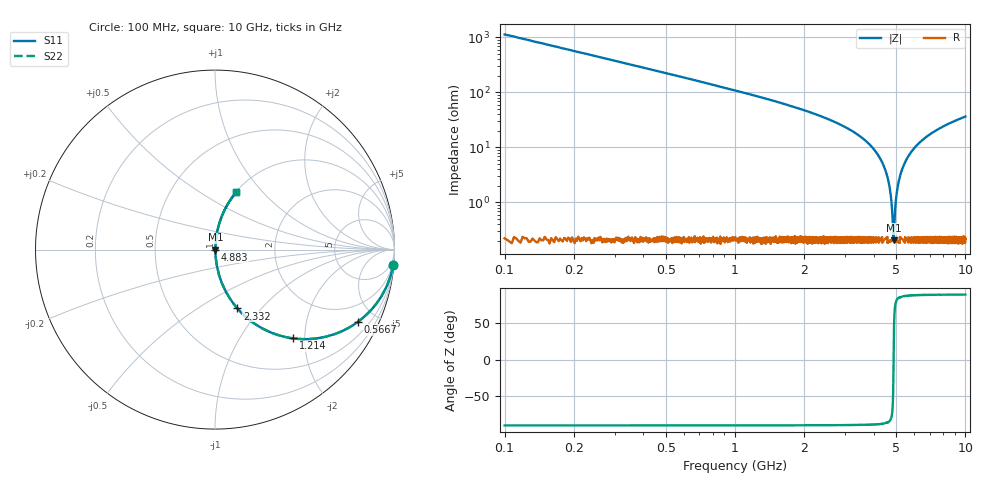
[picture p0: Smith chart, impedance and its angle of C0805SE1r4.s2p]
! AVX Thin Film Operation		Date: April 2012
! Description: Accu-P® Series, Thin Film, SMD, RF Capacitor
! Part Number: 08051J1R4PBTTR
!	100	MHz	-	10.05	GHz
!	Serial	Measurements
#	MHZ	S	MA	R	50
!	S11	S21	S12	S22
!	dB	Phase	dB	Phase	dB	Phase	dB	Phase
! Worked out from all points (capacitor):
!   4010 points, 100 MHz to 10 GHz, reference 50 ohm
!   read as one part in series: C = 1.4 pF near 149.4 MHz
!   lowest |Z| = 205 mohm at 4.878 GHz (marker M1)
!   series resonance near 4.879 GHz, so ESL is about 760 pH
!   S11 on the Smith chart (normalised r, x): 100 MHz: 1, -23; 566.7 MHz: 1.01, -3.96; 1.214 GHz: 1.00, -1.76; 2.332 GHz: 1.00, -0.75; 4.883 GHz: 1.00, +0.00; 10 GHz: 1.00, +0.73
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100  0.996 -5.0  0.088 85.0  0.088 85.0  0.996 -5.0
290.147  0.969 -14.4  0.248 75.6  0.248 75.6  0.969 -14.4
566.725  0.892 -26.8  0.451 63.1  0.451 63.1  0.892 -26.8
1213.719  0.659 -48.6  0.75 41.2  0.75 41.2  0.659 -48.6
1752.058  0.491 -60.4  0.869 29.4  0.869 29.4  0.491 -60.4
2332.377  0.351 -69.1  0.934 20.6  0.934 20.6  0.351 -69.1
3401.646  0.169 -79.6  0.984 9.7  0.984 9.7  0.169 -79.6
4070.866  0.084 -83.7  0.994 4.8  0.994 4.8  0.084 -83.7
4500.549  0.038 -84.7  0.997 2.2  0.997 2.2  0.038 -84.7
4720.329  0.015 -81.4  0.998 0.9  0.998 0.9  0.015 -81.4
4784.535  0.0093 -76.5  0.998 0.5  0.998 0.5  0.0093 -76.5
4848.74  0.00354 -53.7  0.998 0.2  0.998 0.2  0.00354 -53.7
4878.374  0.00209 -0.7  0.998 0.0  0.998 0.0  0.00209 -0.7
4883.313  0.00214 12.0  0.998 -0.0  0.998 -0.0  0.00214 12.0
4912.946  0.00387 57.1  0.998 -0.2  0.998 -0.2  0.00387 57.1
4984.56  0.01 77.6  0.998 -0.6  0.998 -0.6  0.01 77.6
5051.235  0.016 81.7  0.998 -0.9  0.998 -0.9  0.016 81.7
5248.79  0.034 84.5  0.997 -1.9  0.997 -1.9  0.034 84.5
5569.818  0.062 84.5  0.996 -3.5  0.996 -3.5  0.062 84.5
6700.823  0.148 80.7  0.987 -8.5  0.987 -8.5  0.148 80.7
8350.412  0.254 74.9  0.965 -14.7  0.965 -14.7  0.254 74.9
10000  0.341 69.7  0.938 -20.0  0.938 -20.0  0.341 69.7
